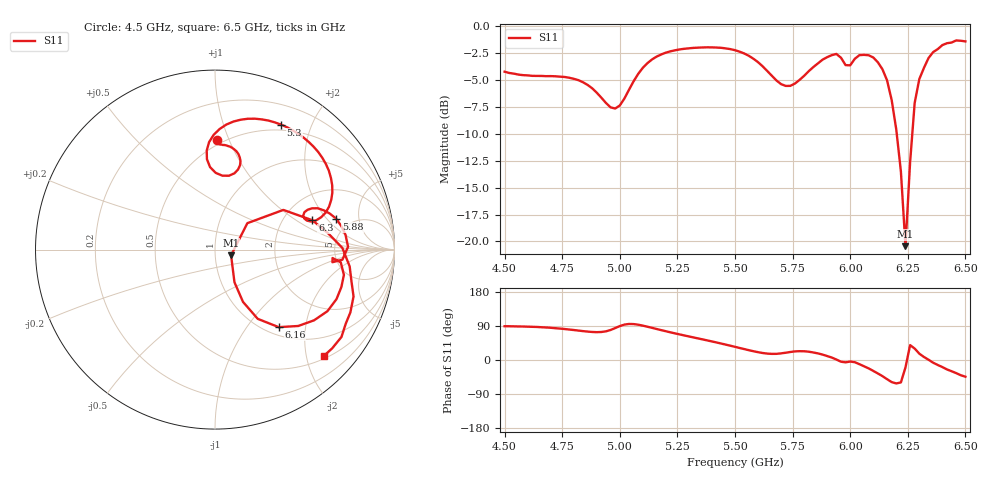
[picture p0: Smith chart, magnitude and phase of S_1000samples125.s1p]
! TOUCHSTONE file generated by CST MICROWAVE STUDIO
! Date and time: Thu Oct 27 02:10:40 2022
! Project name: L.cst
! Parameters = {Di=1.27; Epsilon_r=1.56; InnerDiameter=1.27; Length=2; Lf=10; Lg=60; OuterConductorThickness=0.2921; OuterDiameter=3.6; Wf=3; Wp=41.2; de=1.5; df=6.8; g=0.8; gx=0.486366; gy=3.87554; h=2.34; hf=1.524; px=11.6902; py=14.7538; w=9.7; wx=11.2038; wy=10.8782}
! Header version: 2018
! Port assignment regex: !\s*Touchstone port\s*([0-9]+)\s*=\s*(CST MWS port|CST DS port)\s*([0-9]+|Zmin|Zmax)\s*\(\"(.*)\"\)(\s*mode\s*([0-9]+))?.*
! Touchstone port assignment:
! Touchstone port 1 = CST MWS port 1 ("")
# GHz S DB R 50
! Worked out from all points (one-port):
!   101 points, 4.5 GHz to 6.5 GHz, reference 50 ohm
!   lowest |S11| = -20.4 dB at 6.24 GHz (marker M1), VSWR 1.21, Z = 59.7 - j3.83 ohm
!   |S11| at or under -10 dB: 6.202 GHz to 6.27 GHz (67.62 MHz wide, 1.08 % of centre)
!   S11 on the Smith chart (normalised r, x): 4.5 GHz: 0.46, +0.90; 5.3 GHz: 0.43, +1.57; 5.88 GHz: 3.82, +2.55; 6.16 GHz: 1.14, -1.43; 6.3 GHz: 2.88, +1.39; 6.5 GHz: 0.56, -2.35
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4.5  -4.25 89.1
4.76  -4.73 81.8
4.9  -6.19 73.5
5  -7.38 89.5
5.08  -4.44 93.2
5.16  -2.84 81.8
5.26  -2.18 67.5
5.3  -2.08 62.1
5.5  -2.25 34.7
5.64  -4.18 16.9
5.76  -5.35 22.7
5.82  -4.20 21.9
5.88  -3.13 14.3
5.94  -2.60 1.2
5.96  -2.95 -4.5
6  -3.65 -4.1
6.04  -2.71 -11.1
6.08  -2.72 -22.2
6.16  -5.05 -50.6
6.2  -9.61 -61.8
6.22  -13.49 -59.2
6.24  -20.44 -19.5
6.26  -12.66 39.2
6.28  -7.12 30.1
6.3  -4.93 16.7
6.34  -2.98 0.8
6.4  -1.78 -18.7
6.5  -1.43 -44.1
